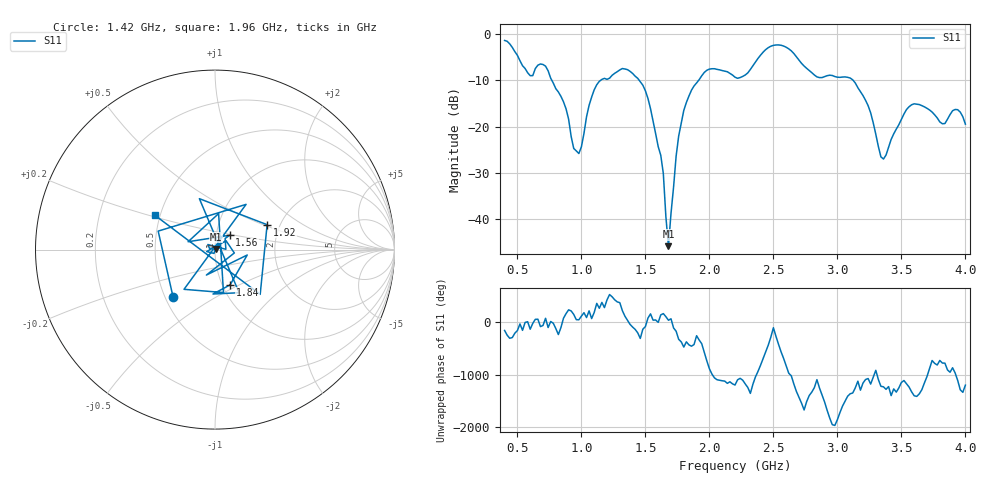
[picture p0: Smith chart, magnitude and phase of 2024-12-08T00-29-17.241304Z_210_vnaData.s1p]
!Created with skrf (http://scikit-rf.org).
# Hz S RI R 50.0
!freq ReS11 ImS11
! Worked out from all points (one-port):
!   181 points, 400 MHz to 4 GHz, reference 50 ohm
!   lowest |S11| = -45.9 dB at 1.68 GHz (marker M1), VSWR 1.01, Z = 50.4 + j0.345 ohm
!   |S11| at or under -10 dB: 769.2 MHz to 1.15 GHz (380.5 MHz wide, 39.7 % of centre); 1.452 GHz to 1.916 GHz (463.5 MHz wide, 27.5 % of centre); 3.123 GHz to end of sweep
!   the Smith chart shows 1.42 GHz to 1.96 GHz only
!   S11 on the Smith chart (normalised r, x): 1.42 GHz: 0.55, -0.33; 1.56 GHz: 1.16, +0.19; 1.84 GHz: 1.09, -0.45; 1.92 GHz: 1.71, +0.53; 1.96 GHz: 0.47, +0.21
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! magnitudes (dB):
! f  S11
! 400 MHz  -1.3
! 600 MHz  -9.0
! 720 MHz  -6.9
! 860 MHz  -14.6
! 940 MHz  -24.7
! 980 MHz  -25.8
! 1.1 GHz  -12.0
! 1.3 GHz  -7.7
! 1.42 GHz  -9.1
! 1.5 GHz  -12.3
! 1.56 GHz  -18.8
! 1.64 GHz  -30.2
! 1.68 GHz  -45.9
! 1.76 GHz  -22.1
! 1.84 GHz  -13.4
! 1.92 GHz  -9.8
! 1.96 GHz  -8.3
! 2.2 GHz  -9.3
! 2.48 GHz  -2.6
! 2.66 GHz  -4.2
! 2.84 GHz  -9.2
! 3.1 GHz  -9.5
! 3.24 GHz  -15.5
! 3.36 GHz  -27.0
! 3.56 GHz  -15.7
! 3.82 GHz  -19.4
! 3.94 GHz  -16.4
! 4 GHz  -19.5
